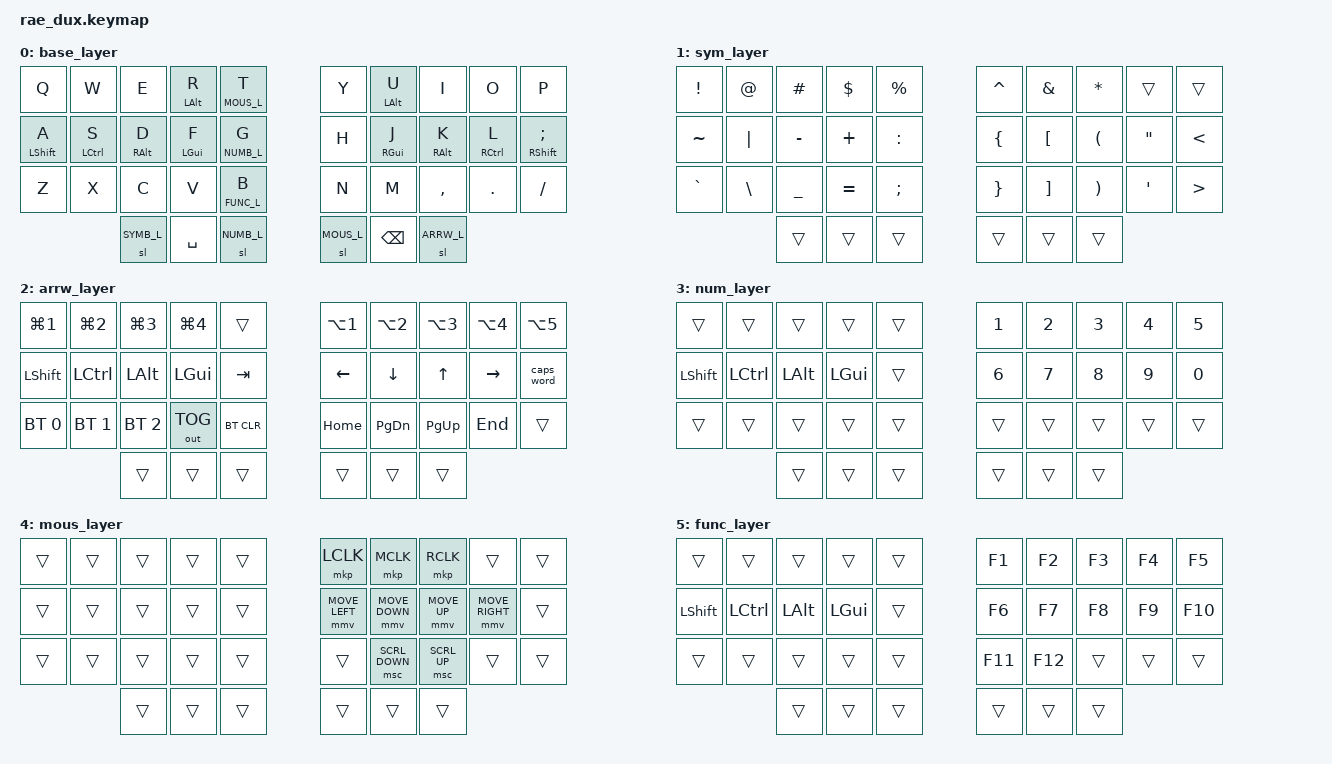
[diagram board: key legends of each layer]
/*
* Copyright (c) 2021 The ZMK Contributors
*
* SPDX-License-Identifier: MIT
*/

#include <behaviors.dtsi>
#include <dt-bindings/zmk/bt.h>
#include <dt-bindings/zmk/outputs.h>
#include <dt-bindings/zmk/keys.h>
#include <dt-bindings/zmk/mouse.h>
#include <dt-bindings/zmk/pointing.h>

#define ZMK_POINTING_DEFAULT_MOVE_VAL 1000
#define ZMK_POINTING_DEFAULT_SCRL_VAL 20

#define BASE_L 0
#define SYMB_L 1
#define ARRW_L 2
#define NUMB_L 3
#define MOUS_L 4
#define FUNC_L 5

&mmv {
    x-input-code = <INPUT_REL_X>;
    y-input-code = <INPUT_REL_Y>;
    time-to-max-speed-ms = <300>;
    acceleration-exponent = <1>;
};

&msc {
    x-input-code = <INPUT_REL_HWHEEL>;
    y-input-code = <INPUT_REL_WHEEL>;
    time-to-max-speed-ms = <300>;
    acceleration-exponent = <1>;
};

/ {
    combos {
        compatible = "zmk,combos";

        /*                KEY POSITIONS

        ╭────────────────────╮ ╭────────────────────╮
        │  0   1   2   3   4 │ │  5   6   7   8   9 │
        │ 10  11  12  13  14 │ │ 15  16  17  18  19 │
        │ 20  21  22  23  24 │ │ 25  26  27  28  29 │
        ╰───────╮ 30  31  32 │ │ 33  34  35 ╭───────╯
        ╰────────────╯ ╰────────────╯        */

        combo_esc {
            timeout-ms = <50>;
            bindings = <&kp ESC>;
            key-positions = <3 4>;
        };
        combo_tab {
            timeout-ms = <50>;
            bindings = <&kp TAB>;
            key-positions = <13 14>;
        };
        combo_enter {
            timeout-ms = <50>;
            bindings = <&kp ENTER>;
            key-positions = <15 16>;
        };
        combo_up {
            timeout-ms = <50>;
            bindings = <&kp UP>;
            key-positions = <5 6>;
        };
        combo_down {
            timeout-ms = <50>;
            bindings = <&kp DOWN>;
            key-positions = <25 26>;
        };
        combo_right {
            timeout-ms = <50>;
            bindings = <&kp RIGHT>;
            key-positions = <16 17>;
        };
        combo_del {
            timeout-ms = <50>;
            bindings = <&kp DEL>;
            key-positions = <23 24>;
        };
    };

    behaviors {
        lhm: left_home_row_mod {
            compatible = "zmk,behavior-hold-tap";
            label = "LEFT_HOME_ROW_MOD";
            #binding-cells = <2>;
            flavor = "hold-preferred";
            tapping-term-ms = <200>;
            quick-tap-ms = <120>;
            require-prior-idle-ms = <100>;
            bindings = <&kp>, <&kp>;
            hold-trigger-key-positions = <5 6 7 8 9 15 16 17 18 19 25 26 27 28 29 33 34 35>;
        };

        rhm: right_home_row_mod {
            compatible = "zmk,behavior-hold-tap";
            label = "RIGHT_HOME_ROW_MOD";
            #binding-cells = <2>;
            flavor = "hold-preferred";
            tapping-term-ms = <200>;
            quick-tap-ms = <120>;
            require-prior-idle-ms = <100>;
            bindings = <&kp>, <&kp>;
            hold-trigger-key-positions = <0 1 2 3 4 10 11 12 13 14 20 21 22 23 24 30 31 32>;
        };

        lt_quick: layer_tap_quick {
            compatible = "zmk,behavior-hold-tap";
            #binding-cells = <2>;
            flavor = "tap-preferred";
            tapping-term-ms = <200>;
            quick-tap-ms = <120>;
            require-prior-idle-ms = <100>;
            bindings = <&mo>, <&kp>;
        };
    };

    keymap {
        compatible = "zmk,keymap";

        base_layer {
            bindings = <
                &kp Q          &kp W          &kp E          &lhm LALT R    &lt_quick MOUS_L T       &kp Y          &rhm LALT U    &kp I          &kp O          &kp P
                &lhm LSHFT A   &lhm LCTRL S   &lhm RALT D    &lhm LGUI F    &lt_quick NUMB_L G       &kp H          &rhm RGUI J    &rhm RALT K    &rhm RCTRL L   &rhm RSHFT SEMI
                &kp Z          &kp X          &kp C          &kp V          &lt_quick FUNC_L B       &kp N          &kp M          &kp COMMA      &kp DOT        &kp FSLH
                &sl SYMB_L     &kp SPACE      &sl NUMB_L     &sl MOUS_L         &kp BSPC       &sl ARRW_L
            >;
        };

        sym_layer {
            bindings = <
                &kp EXCL       &kp AT         &kp HASH       &kp DLLR       &kp PRCNT          &kp CARET      &kp AMPS       &kp ASTRK      &trans         &trans
                &kp TILDE      &kp PIPE       &kp MINUS      &kp PLUS       &kp COLON          &kp LBRC       &kp LBKT       &kp LPAR       &kp DQT        &kp LT
                &kp GRAVE      &kp BSLH       &kp UNDER      &kp EQUAL      &kp SEMI           &kp RBRC       &kp RBKT       &kp RPAR       &kp SQT        &kp GT
                &trans         &trans         &trans         &trans             &trans         &trans
            >;
        };

        arrw_layer {
            bindings = <
                &kp LG(N1)     &kp LG(N2)     &kp LG(N3)     &kp LG(N4)     &trans             &kp LA(N1)    &kp LA(N2)     &kp LA(N3)     &kp LA(N4)     &kp LA(N5)
                &kp LSHFT      &kp LCTRL      &kp LALT       &kp LGUI       &kp TAB            &kp LEFT       &kp DOWN       &kp UP         &kp RIGHT      &caps_word
                &bt BT_SEL 0   &bt BT_SEL 1   &bt BT_SEL 2   &out OUT_TOG   &bt BT_CLR         &kp HOME       &kp PG_DN      &kp PG_UP      &kp END        &trans
                &trans         &trans         &trans         &trans             &trans         &trans
            >;
        };

        num_layer {
            bindings = <
                &trans         &trans         &trans         &trans         &trans             &kp N1         &kp N2         &kp N3         &kp N4         &kp N5
                &kp LSHFT      &kp LCTRL      &kp LALT       &kp LGUI       &trans             &kp N6         &kp N7         &kp N8         &kp N9         &kp N0
                &trans         &trans         &trans         &trans         &trans             &trans         &trans         &trans         &trans         &trans
                &trans         &trans         &trans         &trans             &trans         &trans
            >;
        };

        mous_layer {
            bindings = <
                &trans         &trans         &trans         &trans         &trans             &mkp LCLK      &mkp MCLK      &mkp RCLK      &trans         &trans
                &trans         &trans         &trans         &trans         &trans             &mmv MOVE_LEFT &mmv MOVE_DOWN &mmv MOVE_UP   &mmv MOVE_RIGHT &trans
                &trans         &trans         &trans         &trans         &trans             &trans         &msc SCRL_DOWN &msc SCRL_UP   &trans         &trans
                &trans         &trans         &trans         &trans             &trans         &trans
            >;
        };

        func_layer {
            bindings = <
                &trans         &trans         &trans         &trans         &trans             &kp F1         &kp F2         &kp F3         &kp F4         &kp F5
                &kp LSHFT      &kp LCTRL      &kp LALT       &kp LGUI       &trans             &kp F6         &kp F7         &kp F8         &kp F9         &kp F10
                &trans         &trans         &trans         &trans         &trans             &kp F11        &kp F12        &trans         &trans         &trans
                &trans         &trans         &trans         &trans             &trans         &trans
            >;
        };
    };
};
